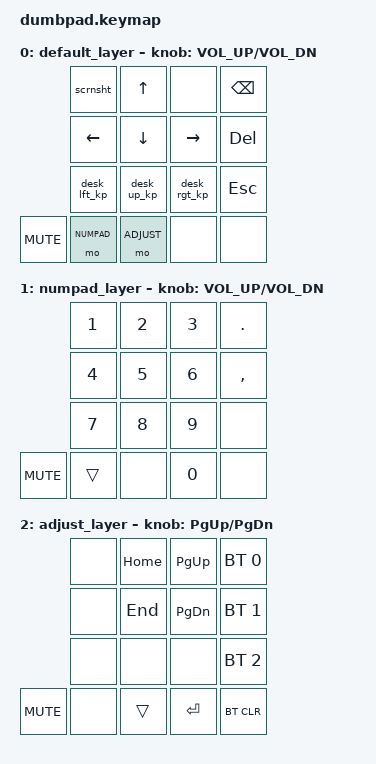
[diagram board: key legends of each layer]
/*
 * Copyright (c) 2023 Daniel Ferrer
 *
 * SPDX-License-Identifier: MIT
 */

#include <behaviors.dtsi>
#include <dt-bindings/zmk/keys.h>
#include <dt-bindings/zmk/bt.h>

/* LAYERS */

#define DEFAULT 0
#define NUMPAD  1
#define ADJUST  2


/ {


        macros {
             scrnsht: scrnsht {
                label = "ZM_SCREENSHOOT_KP";
                compatible = "zmk,behavior-macro";
                #binding-cells = <0>;
                wait-ms = <0>;
                tap-ms = <10>;
                bindings
                        = <&macro_press &kp LSHFT &kp LGUI>
                        , <&macro_tap &kp N4>
                        , <&macro_release &kp LSHFT &kp LGUI>
                        ;
              };


               desk_lft_kp: desk_lft_kp {
                label = "ZM_DESK_LFT_KP";
                compatible = "zmk,behavior-macro";
                #binding-cells = <0>;
                wait-ms = <0>;
                tap-ms = <10>;
                bindings
                        = <&macro_press &kp LCTRL>
                        , <&macro_tap &kp LEFT>
                        , <&macro_release &kp LCTRL>
                        ;
              };

              desk_rgt_kp: desk_rgt_kp {
                label = "ZM_DESK_RGT_KP";
                compatible = "zmk,behavior-macro";
                #binding-cells = <0>;
                wait-ms = <0>;
                tap-ms = <10>;
                bindings
                        = <&macro_press &kp LCTRL>
                        , <&macro_tap &kp RIGHT>
                        , <&macro_release &kp LCTRL>
                        ;
              };

              desk_up_kp: desk_up_kp {
                label = "ZM_DESK_UP_KP";
                compatible = "zmk,behavior-macro";
                #binding-cells = <0>;
                wait-ms = <0>;
                tap-ms = <10>;
                bindings
                        = <&macro_press &kp LCTRL>
                        , <&macro_tap &kp UP>
                        , <&macro_release &kp LCTRL>
                        ;
              };
              
        };


    keymap {
        compatible = "zmk,keymap";

        default_layer {
// -------------------
// | SCRSH  |  UP  |  -  | BSPC |
// | LEFT   | DOWN |RIGHT| DEL  |
// | DSK L  |DSK UP|DSK R| ESC  |
// | NUMPAD |ADJUST|  -  |  -   |
// ----------------------
            bindings = <
                &scrnsht &kp UP &none &kp BSPC
                &kp LEFT &kp DOWN &kp RIGHT &kp DELETE
                &desk_lft_kp    &desk_up_kp    &desk_rgt_kp &kp ESC
    &kp K_MUTE  &mo NUMPAD  &mo ADJUST &none &none 
            >;

            sensor-bindings = <&inc_dec_kp C_VOL_UP C_VOL_DN>;
        };


        numpad_layer {
// -------------------
// | 1      |  2  |  3  |  .  |
// | 4      |  5  |  6  |  ,  |
// | 7      |  8  |  9  |     |
// |        |     |  0  |     |
// ----------------------
            bindings = <
                &kp N1 &kp N2 &kp N3 &kp DOT
                &kp N4 &kp N5 &kp N6 &kp COMMA
                &kp N7 &kp N8 &kp N9 &none
    &kp K_MUTE  &trans &none  &kp N0 &none
            >;

            sensor-bindings = <&inc_dec_kp C_VOL_UP C_VOL_DN>;
        };

        adjust_layer {
// -----------------------
// | BTNXT |  HOME  |  PGUP  |   _   |
// | BTPRV |  END   |  PGDN  |   _   |
// | BTCLR |  _     |  _     |   _   |
// | _     |  _     |  RET   |   _   |
// -----------------------
            bindings = <
                &none      &kp HOME &kp PG_UP &bt BT_SEL 0
                &none      &kp END  &kp PG_DN &bt BT_SEL 1
                &none      &none   &none    &bt BT_SEL 2
    &kp K_MUTE  &none      &trans   &kp RET   &bt BT_CLR
            >;

            sensor-bindings = <&inc_dec_kp PG_UP PG_DN>;
        };
    };
};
